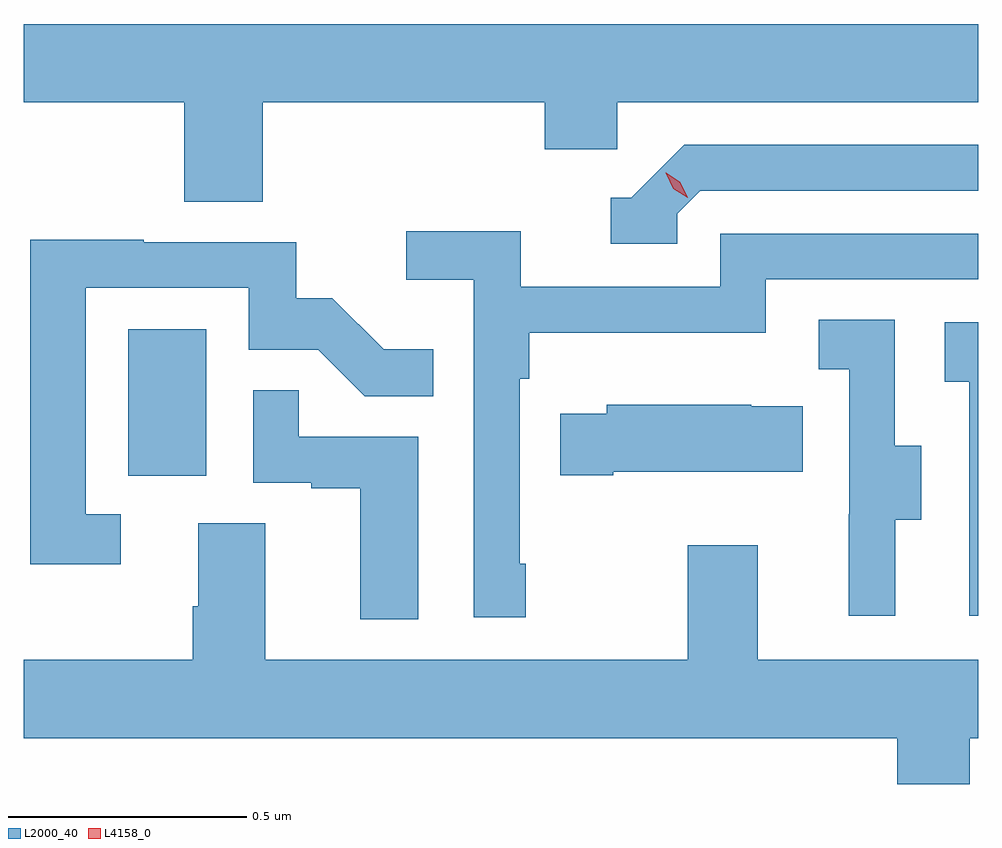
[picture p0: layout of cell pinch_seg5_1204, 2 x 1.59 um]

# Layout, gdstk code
import gdstk
lib = gdstk.Library(unit=1e-6, precision=1e-09)
def R(c, l, rs):  # rectangles x0, y0, x1, y1
    for r in rs: c.add(gdstk.rectangle(r[:2], r[2:], *l))
def P(c, l, *ps):  # polygons
    for p in ps: c.add(gdstk.Polygon(p, *l))
L2000_40 = (2000, 40)
L4158_0 = (4158, 0)

pinch_seg5_1204 = lib.new_cell('pinch_seg5_1204')
R(pinch_seg5_1204, L2000_40, [(837.536,843.99,837.7,844.297)])
P(pinch_seg5_1204, L2000_40, [(837.818,844.772),(838.409,844.772),(838.409,844.674),(838.56,844.674),(838.56,844.772),(839.317,844.772),(839.317,844.936),(837.317,844.936),(837.317,844.772),(837.653,844.772),(837.653,844.564),(837.818,844.564)],
  [(838.686,844.539),(838.734,844.587),(839.317,844.587),(839.317,844.683),(838.701,844.683),(838.59,844.572),(838.547,844.572),(838.547,844.476),(838.686,844.476)],
  [(838.369,843.805),(838.356,843.805),(838.356,844.193),(838.376,844.193),(838.376,844.289),(838.872,844.289),(838.872,844.401),(839.317,844.401),(839.317,844.497),(838.776,844.497),(838.776,844.386),(838.358,844.386),(838.358,844.502),(838.119,844.502),(838.119,844.4),(838.26,844.4),(838.26,843.693),(838.369,843.693)],
  [(837.52,843.909),(837.447,843.909),(837.447,844.383),(837.789,844.383),(837.789,844.254),(837.934,844.254),(838.032,844.156),(838.175,844.156),(838.175,844.255),(838.071,844.255),(837.964,844.362),(837.888,844.362),(837.888,844.479),(837.569,844.479),(837.569,844.484),(837.331,844.484),(837.331,843.804),(837.52,843.804)],
  [(839.143,843.898),(839.197,843.898),(839.197,844.053),(839.142,844.053),(839.142,844.316),(838.983,844.316),(838.983,844.213),(839.046,844.213),(839.046,843.909),(839.045,843.909),(839.045,843.696),(839.143,843.696)],
  [(839.317,844.311),(839.247,844.311),(839.247,844.187),(839.298,844.187),(839.298,843.696),(839.317,843.696)],
  [(838.144,844.071),(837.893,844.071),(837.893,844.169),(837.798,844.169),(837.798,843.975),(837.919,843.975),(837.919,843.963),(838.022,843.963),(838.022,843.689),(838.144,843.689)],
  [(838.552,843.998),(838.949,843.998),(838.949,844.135),(838.841,844.135),(838.841,844.138),(838.539,844.138),(838.539,844.12),(838.441,844.12),(838.441,843.991),(838.552,843.991)],
  [(839.299,843.44),(839.317,843.44),(839.317,843.604),(838.855,843.604),(838.855,843.844),(838.708,843.844),(838.708,843.604),(837.823,843.604),(837.823,843.89),(837.683,843.89),(837.683,843.716),(837.671,843.716),(837.671,843.604),(837.317,843.604),(837.317,843.44),(839.147,843.44),(839.147,843.344),(839.299,843.344)])
P(pinch_seg5_1204, L4158_0, [(838.708,844.572),(838.678,844.591),(838.662,844.624),(838.662,844.624),(838.663,844.624),(838.693,844.605),(838.708,844.572),(838.708,844.572)])

lib.write_gds('pinch_seg5_1204.gds')
